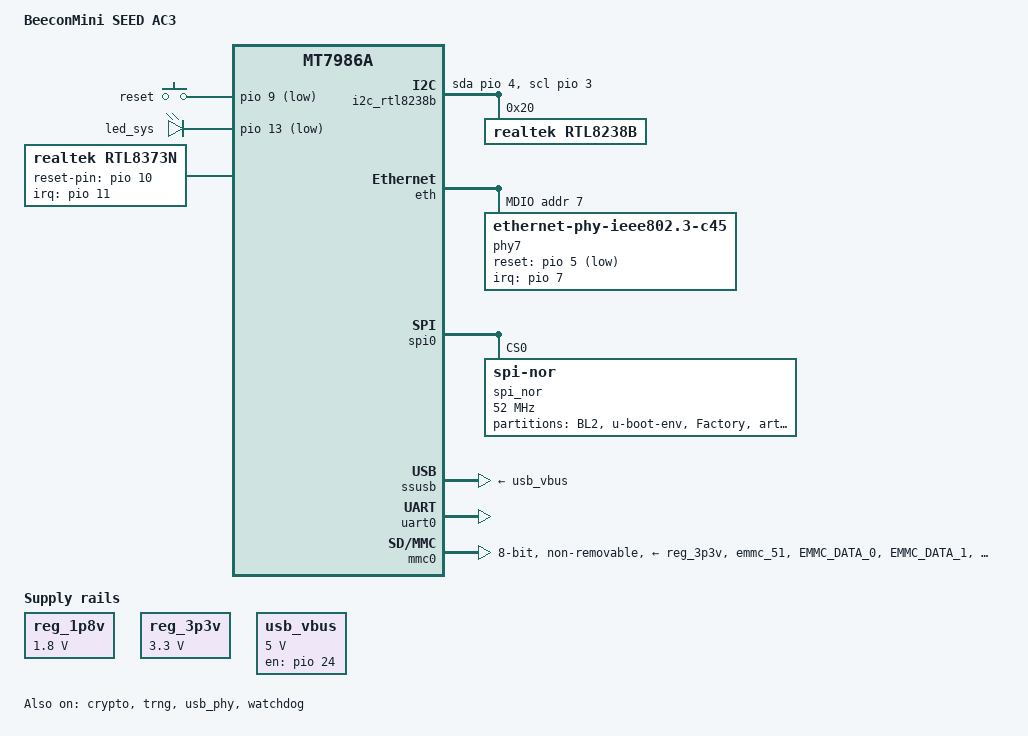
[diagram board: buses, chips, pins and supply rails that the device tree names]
// SPDX-License-Identifier: GPL-2.0-or-later OR MIT

/dts-v1/;
#include <dt-bindings/gpio/gpio.h>
#include <dt-bindings/input/input.h>

#include "mt7986a.dtsi"

/ {
	model = "BeeconMini SEED AC3";
	compatible = "beeconmini,seed-ac3", "mediatek,mt7986a";

	aliases {
		serial0 = &uart0;
		led-boot = &led_sys;
		led-failsafe = &led_sys;
		led-running = &led_sys;
		led-upgrade = &led_sys;
	};

	chosen {
		stdout-path = "serial0:115200n8";
		bootargs = "root=PARTLABEL=rootfs rootfstype=squashfs,f2fs rootwait fstools_partname_fallback_scan=1";
	};

	gpio-keys {
		compatible = "gpio-keys";

		reset {
			label = "reset";
			linux,code = <KEY_RESTART>;
			gpios = <&pio 9 GPIO_ACTIVE_LOW>;
		};
	};

	leds {
		compatible = "gpio-leds";

		led_sys: led_sys {
			label = "led_sys";
			gpios = <&pio 13 GPIO_ACTIVE_LOW>;
		};
	};

	reg_1p8v: regulator-1p8v {
		compatible = "regulator-fixed";
		regulator-name = "1.8vd";
		regulator-min-microvolt = <1800000>;
		regulator-max-microvolt = <1800000>;
		regulator-boot-on;
		regulator-always-on;
	};

	reg_3p3v: regulator-3p3v {
		compatible = "regulator-fixed";
		regulator-name = "fixed-3.3V";
		regulator-min-microvolt = <3300000>;
		regulator-max-microvolt = <3300000>;
		regulator-boot-on;
		regulator-always-on;
	};

	usb_vbus: regulator-usb-vbus {
		compatible = "regulator-fixed";
		regulator-name = "usb_vbus";
		regulator-min-microvolt = <5000000>;
		regulator-max-microvolt = <5000000>;
		gpios = <&pio 24 GPIO_ACTIVE_HIGH>;
		enable-active-high;
		regulator-boot-on;
	};

	rtl8373n {
		compatible = "realtek,rtl8373n";
		mediatek,mdio = <&mdio_bus>;
		mediatek,reset-pin = <&pio 10 GPIO_ACTIVE_HIGH>;
		interrupt-parent = <&pio>;
		interrupts = <11 IRQ_TYPE_LEVEL_LOW>;
		status = "okay";
	};

	i2c_rtl8238b {
		compatible = "i2c-gpio";
		sda-gpios = <&pio 4 (GPIO_ACTIVE_HIGH | GPIO_OPEN_DRAIN)>;
		scl-gpios = <&pio 3 (GPIO_ACTIVE_HIGH | GPIO_OPEN_DRAIN)>;
		i2c-gpio,delay-us = <2>;
		#address-cells = <1>;
		#size-cells = <0>;

		rtl8238b: rtl8238b@20 {
			compatible = "realtek,rtl8238b";
			reg = <0x20>;
		};
	};
};

&eth {
	status = "okay";

	gmac0: mac@0 {
		compatible = "mediatek,eth-mac";
		reg = <0>;
		phy-mode = "2500base-x";
		phy-handle = <&phy7>;
	};

	gmac1: mac@1 {
		compatible = "mediatek,eth-mac";
		reg = <1>;
		phy-mode = "2500base-x";

		fixed-link {
			speed = <2500>;
			full-duplex;
			pause;
		};
	};

	mdio_bus: mdio-bus {
		#address-cells = <1>;
		#size-cells = <0>;

		phy7: ethernet-phy@7 {
			compatible = "ethernet-phy-ieee802.3-c45";
			reg = <7>;
			reset-gpios = <&pio 5 GPIO_ACTIVE_LOW>;
			interrupt-parent = <&pio>;
			interrupts = <7 IRQ_TYPE_LEVEL_LOW>;
			reset-assert-us = <100000>;
			reset-deassert-us = <100000>;
		};
	};
};

&spi0 {
	status = "okay";

	spi_nor: spi_nor@0 {
		#address-cells = <1>;
		#size-cells = <1>;
		compatible = "jedec,spi-nor";
		reg = <0>;
		spi-max-frequency = <52000000>;
		spi-tx-bus-width = <4>;
		spi-rx-bus-width = <4>;

		partitions {
			compatible = "fixed-partitions";
			#address-cells = <1>;
			#size-cells = <1>;

			partition@00000 {
				label = "BL2";
				reg = <0x00000 0x0040000>;
				read-only;
			};

			partition@40000 {
				label = "u-boot-env";
				reg = <0x40000 0x0010000>;
			};

			partition@50000 {
				label = "Factory";
				reg = <0x50000 0x00A0000>;
			};

			partition@F0000 {
				label = "art";
				reg = <0xF0000 0x0010000>;
			};

			partition@100000 {
				label = "FIP";
				reg = <0x100000 0x0400000>;
				read-only;
			};
		};
	};
};

&pio {
	mmc0_pins_default: mmc0-pins {
		mux {
			function = "emmc";
			groups = "emmc_51";
		};
		conf-cmd-dat {
			pins = "EMMC_DATA_0", "EMMC_DATA_1", "EMMC_DATA_2",
			       "EMMC_DATA_3", "EMMC_DATA_4", "EMMC_DATA_5",
			       "EMMC_DATA_6", "EMMC_DATA_7", "EMMC_CMD";
			input-enable;
			drive-strength = <4>;
			mediatek,pull-up-adv = <1>;	/* pull-up 10K */
		};
		conf-clk {
			pins = "EMMC_CK";
			drive-strength = <6>;
			mediatek,pull-down-adv = <2>;	/* pull-down 50K */
		};
		conf-ds {
			pins = "EMMC_DSL";
			mediatek,pull-down-adv = <2>;	/* pull-down 50K */
		};
		conf-rst {
			pins = "EMMC_RSTB";
			drive-strength = <4>;
			mediatek,pull-up-adv = <1>;	/* pull-up 10K */
		};
	};

	mmc0_pins_uhs: mmc0-uhs-pins {
		mux {
			function = "emmc";
			groups = "emmc_51";
		};
		conf-cmd-dat {
			pins = "EMMC_DATA_0", "EMMC_DATA_1", "EMMC_DATA_2",
			       "EMMC_DATA_3", "EMMC_DATA_4", "EMMC_DATA_5",
			       "EMMC_DATA_6", "EMMC_DATA_7", "EMMC_CMD";
			input-enable;
			drive-strength = <4>;
			mediatek,pull-up-adv = <1>;	/* pull-up 10K */
		};
		conf-clk {
			pins = "EMMC_CK";
			drive-strength = <6>;
			mediatek,pull-down-adv = <2>;	/* pull-down 50K */
		};
		conf-ds {
			pins = "EMMC_DSL";
			mediatek,pull-down-adv = <2>;	/* pull-down 50K */
		};
		conf-rst {
			pins = "EMMC_RSTB";
			drive-strength = <4>;
			mediatek,pull-up-adv = <1>;	/* pull-up 10K */
		};
	};
};

&crypto {
	status = "okay";
};

&ssusb {
	vusb33-supply = <&reg_3p3v>;
	vbus-supply = <&usb_vbus>;
	status = "okay";
};

&trng {
	status = "okay";
};

&uart0 {
	status = "okay";
};

&usb_phy {
	status = "okay";
};

&watchdog {
	status = "okay";
};

&mmc0 {
	pinctrl-names = "default", "state_uhs";
	pinctrl-0 = <&mmc0_pins_default>;
	pinctrl-1 = <&mmc0_pins_uhs>;
	bus-width = <8>;
	max-frequency = <200000000>;
	cap-mmc-highspeed;
	mmc-hs200-1_8v;
	mmc-hs400-1_8v;
	hs400-ds-delay = <0x14014>;
	vmmc-supply = <&reg_3p3v>;
	vqmmc-supply = <&reg_1p8v>;
	non-removable;
	no-sd;
	no-sdio;
	status = "okay";
};
